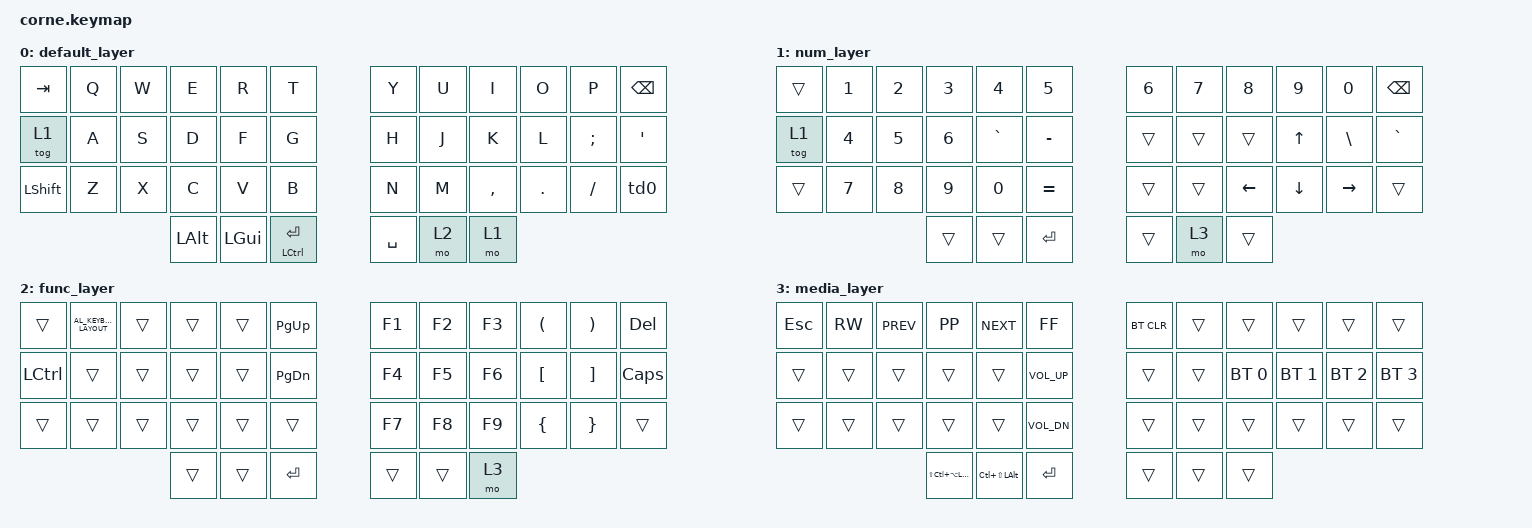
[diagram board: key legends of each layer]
/*
 * Copyright (c) 2020 The ZMK Contributors
 *
 * SPDX-License-Identifier: MIT
 */

#include <behaviors.dtsi>
#include <dt-bindings/zmk/keys.h>
#include <dt-bindings/zmk/bt.h>

/ {
    behaviors {
        td0: tap_dance_0 {
            compatible = "zmk,behavior-tap-dance";
            label = "TAP_DANCE_0";
            #binding-cells = <0>;
            tapping-term-ms = <200>;
            bindings = <&kp RSHFT>, <&caps_word>;
        };
    };


        keymap {
                compatible = "zmk,keymap";

                default_layer {
// -----------------------------------------------------------------------------------------
// |  TAB |  Q  |  W  |  E  |  R  |  	T  	 |   |  Y  |  U   |  I  |  O  |  P  | BKSP |
// | TG1  |  A  |  S  |  D  |  F  |  	G 	 |   |  H  |  J   |  K  |  L  |  ;  |  '   |
// | SHFT |  Z  |  X  |  C  |  V  |  	B  	 |   |  N  |  M   |  ,  |  .  |  /  | SHFT |
//                    | ALT | WIN | CTL(ENT) |   | SPC | FN2  | FN1 |
                        bindings = <
   &kp TAB  	&kp Q 	&kp W 	&kp E 		&kp R 		&kp T   		&kp Y 		&kp U  	&kp I     &kp O   &kp P    &kp BSPC
   &tog 1 		&kp A 	&kp S 	&kp D 		&kp F 		&kp G   		&kp H 		&kp J  	&kp K     &kp L   &kp SEMI &kp SQT
   &kp LSHFT 	&kp Z 	&kp X 	&kp C 		&kp V 		&kp B   		&kp N 		&kp M  	&kp COMMA &kp DOT &kp FSLH &td0
								&kp LALT 	&kp LGUI 	&mt LCTRL RET 	&kp SPACE 	&mo 2 	&mo 1
                        >;
                };
                num_layer {
// -----------------------------------------------------------------------------------------
// |  TAB | 1 | 2 |  3  |  4  |  5  |   |  6  |  7  |  8   |   9  |   0   | BKSP |
// |  TG1 | 4 | 5 |  6  |  `  |  -  |   |     |     |      |  UP  |   \   |   `  |
// | SHFT | 7 | 8 |  9  |  0  |  =  |   |     |     | LEFT | DOWN | RIGHT |      |
//                | ALT | WIN | ENT |   | SPC | FN3 |  FN1 |
                        bindings = <
   &trans   &kp N1  &kp N2  &kp N3	&kp N4 		&kp N5      &kp N6  &kp N7  &kp N8 		&kp N9    	&kp N0 		&kp BSPC
   &tog 1 	&kp N4 	&kp N5 	&kp N6 	&kp GRAVE 	&kp MINUS	&trans 	&trans 	&trans 		&kp UP 		&kp BSLH 	&kp GRAVE
   &trans  	&kp N7	&kp N8 	&kp N9	&kp N0      &kp EQUAL   &trans  &trans  &kp LEFT   	&kp DOWN 	&kp RIGHT   &trans
							&trans  &trans  	&kp RET     &trans  &mo 3   &trans
                        >;
                };

                func_layer {
// -----------------------------------------------------------------------------------------
// |  TAB | MYKEYB |     |     |     | PGUP |   |  F1 |  F2 |  F3 | ( | ) |  DEL |
// | CTRL |    	   |     |     |     | PGDN |   |  F4 |  F5 |  F6 | [ | ] | CAPS | 
// | SHFT |        |     |     |     |      |   |  F7 |  F8 |  F9 | { | } |      |
//                    	 | ALT | WIN | ENT  |   | SPC | FN2 | FN3 |
                        bindings = <
   &trans  		&kp C_AL_KEYBOARD_LAYOUT 	&trans 	&trans 	&trans 	&kp PG_UP   &kp F1 	&kp F2  &kp F3 	&kp LPAR &kp RPAR &kp DEL
   &kp LCTRL 	&trans   					&trans 	&trans  &trans 	&kp PG_DN  	&kp F4 	&kp F5 	&kp F6  &kp LBKT &kp RBKT &kp CAPS
   &trans 		&trans   					&trans 	&trans  &trans  &trans   	&kp F7 	&kp F8  &kp F9  &kp LBRC &kp RBRC &trans
													&trans 	&trans  &kp RET 	&trans 	&trans  &mo 3
                        >;
                };
				media_layer {
// -----------------------------------------------------------------------------------------
// | ESC | RWND | PRVS | PLAY  | NEXT | MFFD |   | BTCLR |     |     |     |     |     |
// |   	 |      |      |       |      |      |   |    	 |     | BT1 | BT2 | BT3 | BT4 | 
// |  	 |      |      |       |      |      |   |       |     |     |     |     |     |
//                     | HYPER | MEH  |  ENT |   |  SPC  | FN2 | FN3 |
                        bindings = <
   &kp ESC  &kp C_RW &kp K_PREV &kp K_PP 				&kp K_NEXT 			&kp C_FF   		&bt BT_CLR 	&trans  &trans 			&trans 			&trans 			&trans
   &trans 	&trans   &trans 	&trans   				&trans 				&kp K_VOL_UP   	&trans     	&trans 	&bt BT_SEL 0	&bt BT_SEL 1	&bt BT_SEL 2	&bt BT_SEL 3
   &trans 	&trans   &trans 	&trans   				&trans   			&kp K_VOL_DN    &trans 		&trans  &trans        	&trans 			&trans 			&trans
								&kp LS(LC(LA(LGUI))) 	&kp LC(LS(LALT))	&kp RET   		&trans  	&trans	&trans
                        >;
                };
        };
};
